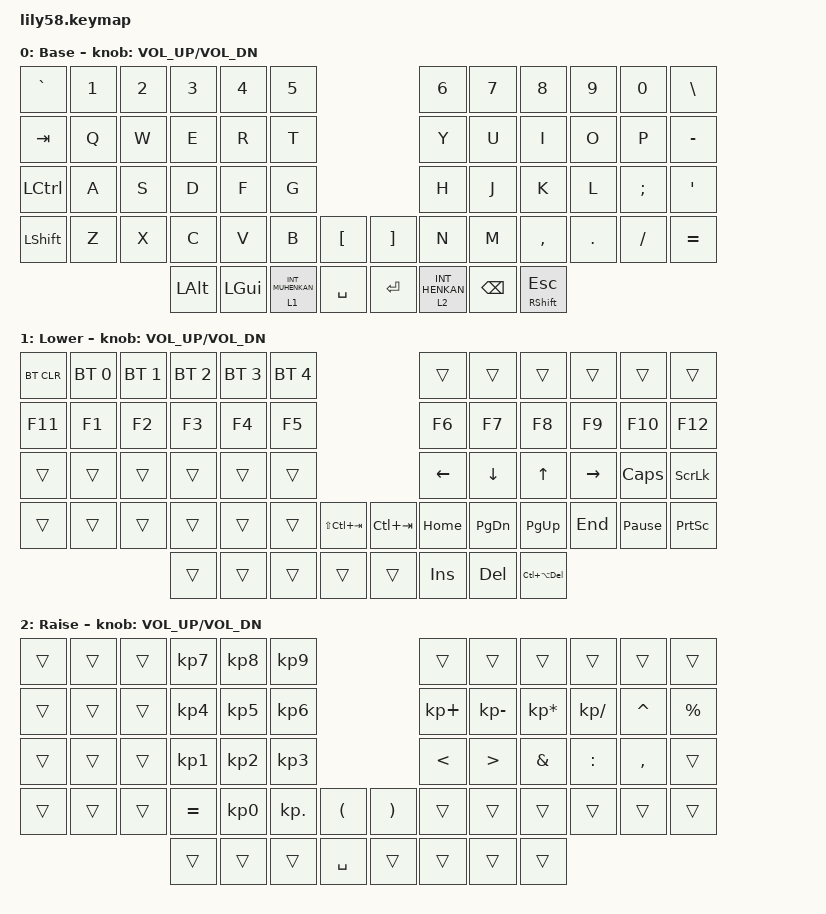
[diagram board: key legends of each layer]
/*
 * Copyright (c) 2020 The ZMK Contributors
 *
 * SPDX-License-Identifier: MIT
 */

#include <behaviors.dtsi>
#include <dt-bindings/zmk/bt.h>
#include <dt-bindings/zmk/keys.h>

/ {
    keymap {
        compatible = "zmk,keymap";

        default_layer {
            // ------------------------------------------------------------------------------------------------------------
            // |  ESC  |  1  |  2  |  3   |  4   |  5   |                   |  6   |  7    |  8    |  9   |   0   |   `   |
            // |  TAB  |  Q  |  W  |  E   |  R   |  T   |                   |  Y   |  U    |  I    |  O   |   P   |   -   |
            // |  CTRL |  A  |  S  |  D   |  F   |  G   |                   |  H   |  J    |  K    |  L   |   ;   |   '   |
            // | SHIFT |  Z  |  X  |  C   |  V   |  B   |   "["  |  |  "]"  |  N   |  M    |  ,    |  .   |   /   | SHIFT |
            //                     | ALT  | GUI  | LOWER|  SPACE |  | ENTER | RAISE| BSPC  | GUI   |

            display-name = "Base";
            bindings = <
&kp GRAVE  &kp N1  &kp N2  &kp N3    &kp N4    &kp N5                                     &kp N6            &kp N7         &kp N8          &kp N9   &kp N0    &kp BACKSLASH
&kp TAB    &kp Q   &kp W   &kp E     &kp R     &kp T                                      &kp Y             &kp U          &kp I           &kp O    &kp P     &kp MINUS
&kp LCTRL  &kp A   &kp S   &kp D     &kp F     &kp G                                      &kp H             &kp J          &kp K           &kp L    &kp SEMI  &kp SQT
&kp LSHFT  &kp Z   &kp X   &kp C     &kp V     &kp B               &kp LBKT     &kp RBKT  &kp N             &kp M          &kp COMMA       &kp DOT  &kp FSLH  &kp EQUAL
                           &kp LALT  &kp LGUI  &lt 1 INT_MUHENKAN  &kp SPACE    &kp RET   &lt 2 INT_HENKAN  &kp BACKSPACE  &mt RSHIFT ESC
            >;

            sensor-bindings = <&inc_dec_kp C_VOL_UP C_VOL_DN>;
        };

        lower_layer {
            // ------------------------------------------------------------------------------------------------------------
            // | BTCLR | BT1 | BT2 |  BT3 |  BT4 |  BT5 |                   |      |       |       |      |       |       |
            // |  F1   |  F2 |  F3 |  F4  |  F5  |  F6  |                   |  F7  |  F8   |  F9   |  F10 |  F11  |  F12  |
            // |   `   |  !  |  @  |  #   |  $   |  %   |                   |  ^   |  &    |  *    |  (   |   )   |   ~   |
            // |       |     |     |      |      |      |        |  |       |      |  _    |  +    |  {   |   }   |  "|"  |
            //                     |      |      |      |        |  |       |      |       |       |

            display-name = "Lower";
            bindings = <
&bt BT_CLR  &bt BT_SEL 0  &bt BT_SEL 1  &bt BT_SEL 2  &bt BT_SEL 3  &bt BT_SEL 4                                  &trans    &trans         &trans              &trans     &trans           &trans
&kp F11     &kp F1        &kp F2        &kp F3        &kp F4        &kp F5                                        &kp F6    &kp F7         &kp F8              &kp F9     &kp F10          &kp F12
&trans      &trans        &trans        &trans        &trans        &trans                                        &kp LEFT  &kp DOWN       &kp UP              &kp RIGHT  &kp CAPSLOCK     &kp SCROLLLOCK
&trans      &trans        &trans        &trans        &trans        &trans        &kp LS(LC(TAB))    &kp LC(TAB)  &kp HOME  &kp PAGE_DOWN  &kp PAGE_UP         &kp END    &kp PAUSE_BREAK  &kp PRINTSCREEN
                                        &trans        &trans        &trans        &trans             &trans       &kp INS   &kp DEL        &kp LC(LA(DELETE))
            >;

            sensor-bindings = <&inc_dec_kp C_VOL_UP C_VOL_DN>;
        };

        raise_layer {
            // ------------------------------------------------------------------------------------------------------------
            // |       |     |     |      |      |      |                   |      |       |       |      |       |       |
            // |   `   |  1  |  2  |  3   |  4   |  5   |                   |  6   |   7   |   8   |  9   |   0   |       |
            // |   F1  |  F2 |  F3 |  F4  |  F5  |  F6  |                   |      |   <-  |   v   |  ^   |  ->   |       |
            // |   F7  |  F8 |  F9 |  F10 |  F11 |  F12 |        |  |       |  +   |   -   |   =   |  [   |   ]   |   \   |
            //                     |      |      |      |        |  |       |      |       |       |

            display-name = "Raise";
            bindings = <
&trans  &trans  &trans  &kp KP_NUMBER_7  &kp KP_NUMBER_8  &kp KP_NUMBER_9                         &trans         &trans            &trans           &trans         &trans     &trans
&trans  &trans  &trans  &kp KP_NUMBER_4  &kp KP_NUMBER_5  &kp KP_NUMBER_6                         &kp KP_PLUS    &kp KP_MINUS      &kp KP_ASTERISK  &kp KP_DIVIDE  &kp CARET  &kp PERCENT
&trans  &trans  &trans  &kp KP_NUMBER_1  &kp KP_NUMBER_2  &kp KP_NUMBER_3                         &kp LESS_THAN  &kp GREATER_THAN  &kp AMPERSAND    &kp COLON      &kp COMMA  &trans
&trans  &trans  &trans  &kp EQUAL        &kp KP_NUMBER_0  &kp KP_DOT       &kp LPAR     &kp RPAR  &trans         &trans            &trans           &trans         &trans     &trans
                        &trans           &trans           &trans           &kp SPACE    &trans    &trans         &trans            &trans
            >;

            sensor-bindings = <&inc_dec_kp C_VOL_UP C_VOL_DN>;
        };

        extra_1 { status = "reserved"; };

        extra_2 { status = "reserved"; };

        extra_3 { status = "reserved"; };
    };
};
